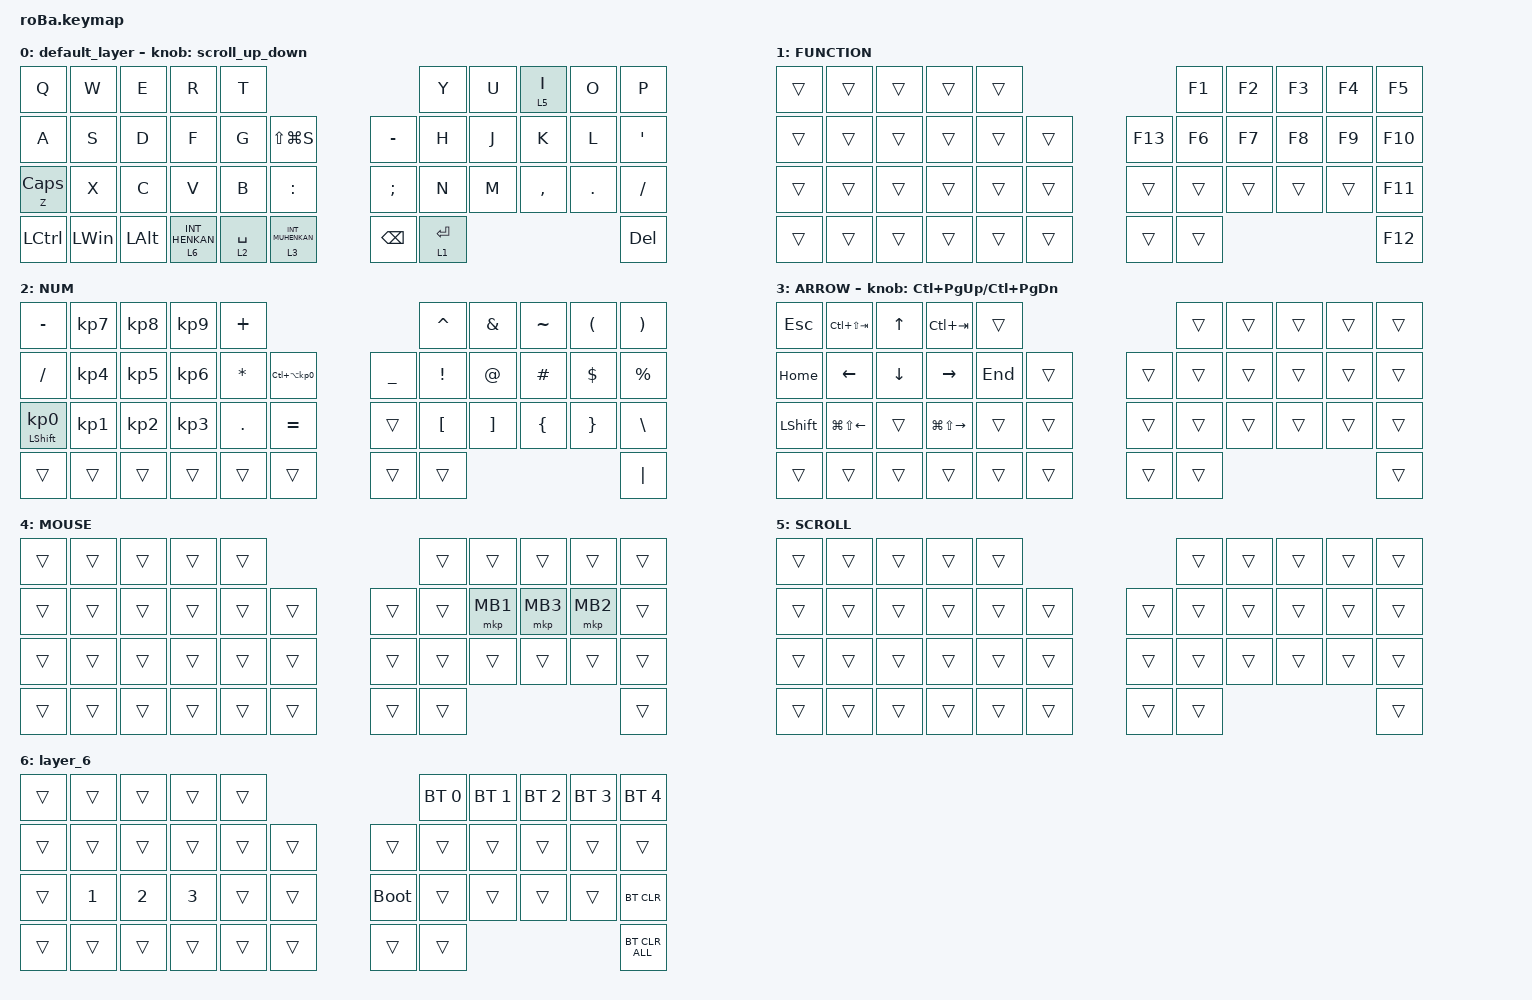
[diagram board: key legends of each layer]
#include <behaviors.dtsi>
#include <dt-bindings/zmk/bt.h>
#include <dt-bindings/zmk/keys.h>
#include <dt-bindings/zmk/pointing.h>

#define MOUSE 4
#define SCROLL 5
#define NUM 6
#define ZMK_POINTING_DEFAULT_SCRL_VAL 2000

&msc {
  time-to-max-speed-ms = <1000>;        // 最大速度に達するまでの時間（例:400ms）
  acceleration-exponent = <0>;        // 緩やかな加速
  delay-ms = <0>;                      // 押下後すぐ開始
};

&mt {
    flavor = "balanced";
    quick-tap-ms = <0>;
};

/ {
    combos {
        compatible = "zmk,combos";

        tab {
            bindings = <&kp TAB>;
            key-positions = <11 12>;
        };

        shift_tab {
            bindings = <&kp LS(TAB)>;
            key-positions = <12 13>;
        };

        muhennkann {
            bindings = <&to_layer_0 INT_MUHENKAN>;
            key-positions = <11 10>;
        };

        double_quotation {
            bindings = <&kp DOUBLE_QUOTES>;
            key-positions = <20 21>;
        };

        eq {
            bindings = <&kp EQUAL>;
            key-positions = <24 25>;
        };
    };

    macros {
        to_layer_0: to_layer_0 {
            compatible = "zmk,behavior-macro-one-param";
            #binding-cells = <1>;
            bindings = <&to 0 &macro_param_1to1 &kp MACRO_PLACEHOLDER>;
            label = "TO_LAYER_0";
        };
    };

    behaviors {
        // 既存のホールドタップ挙動（layer tap）
        lt_to_layer_0: lt_to_layer_0 {
            compatible = "zmk,behavior-hold-tap";
            label = "LAYER_TAP_TO_0";
            bindings = <&mo>, <&to_layer_0>;
            #binding-cells = <2>;
            tapping-term-ms = <200>;
            flavor = "balanced";  // 必要であれば flavor 追加可能
        };

        scroll_up_down: behavior_sensor_rotate_mouse_wheel_up_down {
            compatible = "zmk,behavior-sensor-rotate";
            #sensor-binding-cells = <0>;
            bindings = <&msc SCRL_UP>, <&msc SCRL_DOWN>;
            tap-ms = <20>;
        };
    };


    keymap {
        compatible = "zmk,keymap";

        default_layer {
            bindings = <
&kp Q           &kp W         &kp E         &kp R                        &kp T                                                          &kp Y        &kp U  &lt 5 I    &kp O    &kp P
&kp A           &kp S         &kp D         &kp F                        &kp G        &kp LS(LG(S))                      &kp MINUS      &kp H        &kp J  &kp K      &kp L    &kp SQT
&mt Z CAPSLOCK  &kp X         &kp C         &kp V                        &kp B        &kp COLON                          &kp SEMICOLON  &kp N        &kp M  &kp COMMA  &kp DOT  &kp SLASH
&kp LCTRL       &kp LEFT_WIN  &kp LEFT_ALT  &lt_to_layer_0 6 INT_HENKAN  &lt 2 SPACE  &lt_to_layer_0 3 INT_MUHENKAN      &kp BACKSPACE  &lt 1 ENTER                             &kp DEL
            >;

            sensor-bindings =  <&scroll_up_down>;
        };

        FUNCTION {
            bindings = <
&trans  &trans  &trans  &trans  &trans                       &kp F1  &kp F2  &kp F3  &kp F4  &kp F5
&trans  &trans  &trans  &trans  &trans  &trans      &kp F13  &kp F6  &kp F7  &kp F8  &kp F9  &kp F10
&trans  &trans  &trans  &trans  &trans  &trans      &trans   &trans  &trans  &trans  &trans  &kp F11
&trans  &trans  &trans  &trans  &trans  &trans      &trans   &trans                          &kp F12
            >;
        };

        NUM {
            bindings = <
&kp MINUS                   &kp KP_NUMBER_7  &kp KP_NUMBER_8  &kp KP_NUMBER_9  &kp PLUS                                                   &kp CARET         &kp AMPERSAND      &kp TILDE       &kp LEFT_PARENTHESIS  &kp RIGHT_PARENTHESIS
&kp SLASH                   &kp KP_NUMBER_4  &kp KP_NUMBER_5  &kp KP_NUMBER_6  &kp ASTERISK  &kp LC(LA(KP_NUMBER_0))      &kp UNDERSCORE  &kp EXCLAMATION   &kp AT_SIGN        &kp HASH        &kp DOLLAR            &kp PERCENT
&mt LEFT_SHIFT KP_NUMBER_0  &kp KP_NUMBER_1  &kp KP_NUMBER_2  &kp KP_NUMBER_3  &kp PERIOD    &kp EQUAL                    &trans          &kp LEFT_BRACKET  &kp RIGHT_BRACKET  &kp LEFT_BRACE  &kp RIGHT_BRACE       &kp BACKSLASH
&trans                      &trans           &trans           &trans           &trans        &trans                       &trans          &trans                                                                     &kp PIPE
            >;
        };

        ARROW {
            bindings = <
&kp ESCAPE      &kp LC(LS(TAB))         &kp UP_ARROW    &kp LC(TAB)              &trans                       &trans  &trans  &trans  &trans  &trans
&kp HOME        &kp LEFT_ARROW          &kp DOWN_ARROW  &kp RIGHT_ARROW          &kp END  &trans      &trans  &trans  &trans  &trans  &trans  &trans
&kp LEFT_SHIFT  &kp LG(LS(LEFT_ARROW))  &trans          &kp LG(LS(RIGHT_ARROW))  &trans   &trans      &trans  &trans  &trans  &trans  &trans  &trans
&trans          &trans                  &trans          &trans                   &trans   &trans      &trans  &trans                          &trans
            >;

            sensor-bindings = <&inc_dec_kp LC(PAGE_UP) LC(PAGE_DOWN)>;
        };

        MOUSE {
            bindings = <
&trans  &trans  &trans  &trans  &trans                      &trans  &trans    &trans    &trans    &trans
&trans  &trans  &trans  &trans  &trans  &trans      &trans  &trans  &mkp MB1  &mkp MB3  &mkp MB2  &trans
&trans  &trans  &trans  &trans  &trans  &trans      &trans  &trans  &trans    &trans    &trans    &trans
&trans  &trans  &trans  &trans  &trans  &trans      &trans  &trans                                &trans
            >;
        };

        SCROLL {
            bindings = <
&trans  &trans  &trans  &trans  &trans                      &trans  &trans  &trans  &trans  &trans
&trans  &trans  &trans  &trans  &trans  &trans      &trans  &trans  &trans  &trans  &trans  &trans
&trans  &trans  &trans  &trans  &trans  &trans      &trans  &trans  &trans  &trans  &trans  &trans
&trans  &trans  &trans  &trans  &trans  &trans      &trans  &trans                          &trans
            >;
        };

        layer_6 {
            bindings = <
&trans  &trans        &trans        &trans        &trans                           &bt BT_SEL 0  &bt BT_SEL 1  &bt BT_SEL 2  &bt BT_SEL 3  &bt BT_SEL 4
&trans  &trans        &trans        &trans        &trans  &trans      &trans       &trans        &trans        &trans        &trans        &trans
&trans  &kp NUMBER_1  &kp NUMBER_2  &kp NUMBER_3  &trans  &trans      &bootloader  &trans        &trans        &trans        &trans        &bt BT_CLR
&trans  &trans        &trans        &trans        &trans  &trans      &trans       &trans                                                  &bt BT_CLR_ALL
            >;
        };
    };
};
